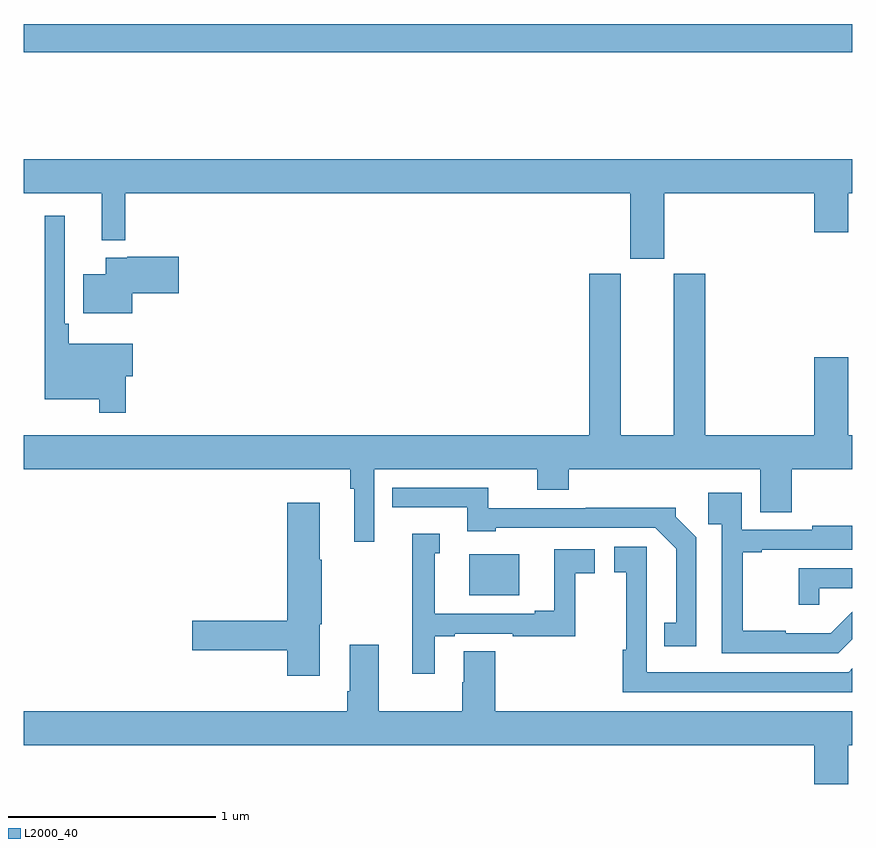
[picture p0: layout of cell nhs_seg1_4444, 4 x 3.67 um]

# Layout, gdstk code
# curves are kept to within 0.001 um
import gdstk
lib = gdstk.Library(unit=1e-6, precision=1e-09)
def R(c, l, rs):  # rectangles x0, y0, x1, y1
    for r in rs: c.add(gdstk.rectangle(r[:2], r[2:], *l))
def P(c, l, *ps):  # polygons
    for p in ps: c.add(gdstk.Polygon(p, *l))
L2000_40 = (2000, 40)

nhs_seg1_4444 = lib.new_cell('nhs_seg1_4444')
R(nhs_seg1_4444, L2000_40, [(355.151,527.147,355.393,527.344), (353,529.768,357,529.904)])
P(nhs_seg1_4444, L2000_40, [(356.092,529.088),(356.816,529.088),(356.816,528.9),(356.98,528.9),(356.98,529.088),(357,529.088),(357,529.252),(353,529.252),(353,529.088),(353.378,529.088),(353.378,528.86),(353.49,528.86),(353.49,529.088),(355.928,529.088),(355.928,528.771),(356.092,528.771)],
  [(353.492,528.203),(353.527,528.203),(353.527,528.361),(353.219,528.361),(353.219,528.457),(353.199,528.457),(353.199,528.979),(353.102,528.979),(353.102,528.092),(353.364,528.092),(353.364,528.027),(353.492,528.027)],
  [(353.524,528.605),(353.749,528.605),(353.749,528.78),(353.5,528.78),(353.5,528.775),(353.396,528.775),(353.396,528.697),(353.288,528.697),(353.288,528.509),(353.524,528.509)],
  [(354.693,527.756),(355.478,527.756),(355.478,527.657),(355.631,527.657),(355.631,527.756),(356.555,527.756),(356.555,527.548),(356.708,527.548),(356.708,527.756),(357,527.756),(357,527.92),(356.98,527.92),(356.98,528.295),(356.816,528.295),(356.816,527.92),(356.291,527.92),(356.291,528.699),(356.138,528.699),(356.138,527.92),(355.882,527.92),(355.882,528.699),(355.73,528.699),(355.73,527.92),(353,527.92),(353,527.756),(354.577,527.756),(354.577,527.66),(354.596,527.66),(354.596,527.406),(354.693,527.406)],
  [(356.247,527.426),(356.148,527.525),(356.148,527.57),(355.714,527.57),(355.714,527.568),(355.242,527.568),(355.242,527.667),(354.778,527.667),(354.778,527.571),(355.142,527.571),(355.142,527.456),(355.278,527.456),(355.278,527.472),(356.049,527.472),(356.15,527.371),(356.15,527.015),(356.092,527.015),(356.092,526.902),(356.247,526.902)],
  [(357,526.935),(357,527.067),(356.896,526.963),(356.678,526.963),(356.678,526.975),(356.471,526.975),(356.471,527.355),(356.563,527.355),(356.563,527.367),(357,527.367),(357,527.482),(356.807,527.482),(356.807,527.463),(356.466,527.463),(356.466,527.641),(356.305,527.641),(356.305,527.489),(356.37,527.489),(356.37,526.866),(356.931,526.866)],
  [(354.43,527.007),(354.438,527.007),(354.438,527.318),(354.43,527.318),(354.43,527.593),(354.272,527.593),(354.272,527.024),(353.814,527.024),(353.814,526.882),(354.272,526.882),(354.272,526.758),(354.43,526.758)],
  [(354.985,526.95),(355.081,526.95),(355.081,526.962),(355.36,526.962),(355.36,526.95),(355.662,526.95),(355.662,527.254),(355.756,527.254),(355.756,527.37),(355.562,527.37),(355.562,527.071),(355.466,527.071),(355.466,527.058),(354.985,527.058),(354.985,527.349),(355.009,527.349),(355.009,527.443),(354.876,527.443),(354.876,527.011),(354.875,527.011),(354.875,526.767),(354.985,526.767)],
  [(357,526.794),(356.982,526.776),(356.007,526.776),(356.008,527.38),(355.851,527.38),(355.851,527.259),(355.909,527.259),(355.909,526.883),(355.891,526.883),(355.891,526.68),(357,526.68)],
  [(356.841,527.181),(357,527.181),(357,527.277),(356.74,527.277),(356.74,527.1),(356.841,527.1)],
  [(356.98,526.424),(357,526.424),(357,526.588),(355.277,526.588),(355.277,526.877),(355.124,526.877),(355.124,526.727),(355.117,526.727),(355.117,526.588),(354.715,526.588),(354.715,526.909),(354.575,526.909),(354.575,526.684),(354.563,526.684),(354.563,526.588),(353,526.588),(353,526.424),(356.816,526.424),(356.816,526.236),(356.98,526.236)])

lib.write_gds('nhs_seg1_4444.gds')
